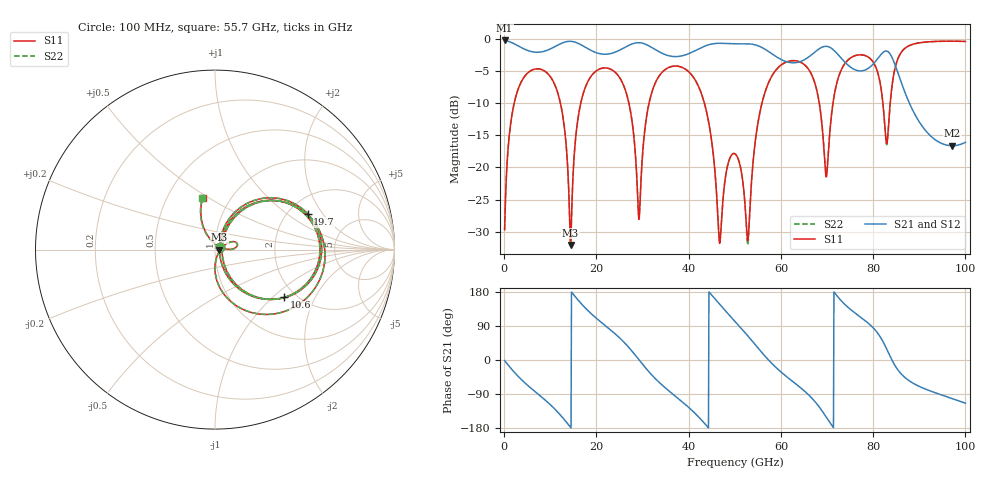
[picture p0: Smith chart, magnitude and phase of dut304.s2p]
! Touchstone file exported from HFSS 2026.1.0
!  File:  C:/ffzhzh/LocalFiles/Ansys_Project_Files/temp_train_TSV_RDL_304_1783696829_44652.aedt
!  Generated:  11:36:52 PM Jul 10, 2026
!  Design:  TSV_RDL
!  Project:  temp_train_TSV_RDL_304_1783696829_44652
! Variables:
!  h_bsmrdl = 2.06um
!  h_ox = 20um
!  h_rdl = 5um
!  h_sub = 89.92um
!  h_tmrdl = 2.55um
!  h_tsv = 89.92um
!  h_via = 3um
!  l_bsmrdl = 551.26um
!  l_sub = 3990.32um
!  l_tmrdl = 453.55um
!  m_sub = 200um
!  pitch = 55.93um
!  r_tsv = 9.93um
!  s_tmrdl = 10um
!  w_bsmrdl = 17.24um
!  w_sub = 500um
!  w_tmrdl = 23.54um
!  x_tsv_center1 = 465.32um
!  x_tsv_center2 = 1033.82um
!  x_tsv_center3 = 1510.91um
!  x_tsv_center4 = 2079.41um
!  x_tsv_center5 = 2556.5um
!  x_tsv_center6 = 3125um
# GHz S MA R 50.000000
! Terminal data exported
! Port[1] = TM_RDL1_1_T1
! Port[2] = TM_RDL5_1_T1
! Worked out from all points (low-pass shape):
!   1000 points, 100 MHz to 100 GHz, reference 50 ohm
!   highest |S21| = -0.25 dB at 100 MHz (marker M1); lowest = -16.6 dB at 97.2 GHz (marker M2)
!   |S21| within 3 dB of the highest: start of sweep to 60.16 GHz; 65.09 GHz to 73.38 GHz (8.296 GHz wide, 12 % of centre) (the widest 2 of 3)
!   lowest |S11| = -32.1 dB at 14.4 GHz (marker M3), VSWR 1.05, Z = 52.6 + j0.0308 ohm
!   |S11| at or under -10 dB: 12.2 GHz to 16.61 GHz (4.414 GHz wide, 30.6 % of centre); 27.04 GHz to 31.41 GHz (4.37 GHz wide, 14.9 % of centre); 43.41 GHz to 55.89 GHz (12.48 GHz wide, 25.1 % of centre) (the widest 3 of 6)
!   |S22| runs from -32.3 to -0.4 dB; largest |S21 - S12| = 2.1e-12
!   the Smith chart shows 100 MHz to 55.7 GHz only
!   S11 on the Smith chart (normalised r, x): 100 MHz: 1.06, +0.03; 10.6 GHz: 1.75, -1.19; 19.7 GHz: 2.53, +1.46; 55.7 GHz: 0.74, +0.47
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0.1  0.03271 29.9  0.972 -1.6  0.972 -1.6  0.03271 29.9
! Gamma 0 0 0 0
! Port Impedance 50 0 50 0
3.1  0.4123 41.7  0.8796 -43.9  0.8796 -43.9  0.4123 41.7
10.6  0.4694 -34.5  0.8551 -124.7  0.8551 -124.7  0.4694 -34.5
14.4  0.02494 0.7  0.9572 -177.6  0.9572 -177.6  0.0244 0.6
16.8  0.3382 52.7  0.8941 147.5  0.8941 147.5  0.3381 52.8
19.7  0.5535 21.1  0.7873 113.3  0.7873 113.3  0.5535 21.3
26.2  0.4069 -43.0  0.8597 44.1  0.8597 44.1  0.407 -42.7
29.2  0.0394 -7.0  0.9336 1.1  0.9336 1.1  0.04083 -6.7
33.4  0.5011 29.8  0.8007 -56.7  0.8007 -56.7  0.5011 29.7
44.1  0.2491 -79.2  0.8942 -176.2  0.8942 -176.2  0.2492 -78.9
46.7  0.02564 -34.7  0.9237 147.2  0.9237 147.2  0.02691 -34.4
50.1  0.1272 11.4  0.9153 101.2  0.9153 101.2  0.1272 10.7
52.8  0.02685 55.4  0.9159 64.1  0.9159 64.1  0.02483 54.6
55.7  0.2957 103.4  0.8631 22.1  0.8631 22.1  0.2953 104.0
66.7  0.5234 -5.8  0.7548 -100.5  0.7548 -100.5  0.5238 -5.2
69.8  0.08434 22.1  0.8752 -150.0  0.8752 -150.0  0.09067 22.8
71.4  0.3355 77.2  0.8205 -178.5  0.8205 -178.5  0.3372 76.3
78.3  0.7407 14.7  0.5732 103.5  0.5732 103.5  0.7408 14.6
83.4  0.2276 61.3  0.7855 17.0  0.7855 17.0  0.2256 61.8
86  0.777 44.4  0.4691 -35.6  0.4691 -35.6  0.7768 44.5
97.2  0.9595 -12.3  0.1475 -101.9  0.1475 -101.9  0.9595 -12.2
100  0.955 -23.0  0.1567 -114.0  0.1567 -114.0  0.955 -22.9
